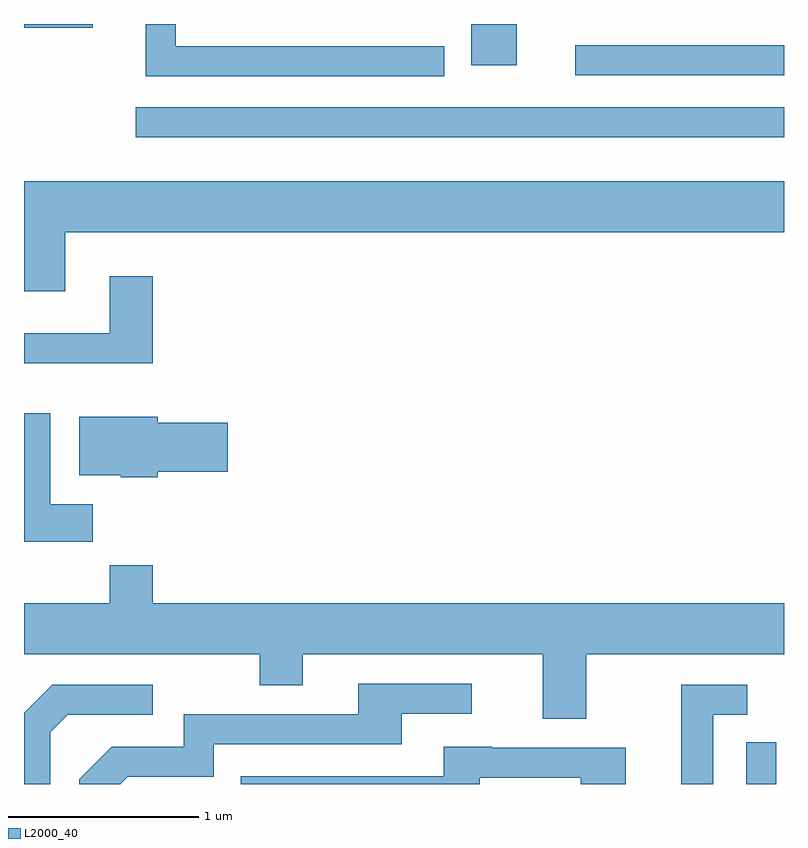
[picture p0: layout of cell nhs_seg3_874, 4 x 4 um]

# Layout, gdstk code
import gdstk
lib = gdstk.Library(unit=1e-6, precision=1e-09)
def R(c, l, rs):  # rectangles x0, y0, x1, y1
    for r in rs: c.add(gdstk.rectangle(r[:2], r[2:], *l))
def P(c, l, *ps):  # polygons
    for p in ps: c.add(gdstk.Polygon(p, *l))
L2000_40 = (2000, 40)

nhs_seg3_874 = lib.new_cell('nhs_seg3_874')
R(nhs_seg3_874, L2000_40, [(213.411,1231.892,213.569,1232.113), (210.198,1235.296,213.611,1235.454), (212.513,1235.621,213.611,1235.779), (211.966,1235.676,212.204,1235.892), (209.611,1235.871,209.974,1235.892)])
P(nhs_seg3_874, L2000_40, [(211.823,1235.774),(210.409,1235.774),(210.409,1235.892),(210.251,1235.892),(210.251,1235.616),(211.823,1235.616)],
  [(209.829,1234.796),(213.611,1234.796),(213.611,1235.064),(209.611,1235.064),(209.611,1234.486),(209.829,1234.486)],
  [(210.289,1234.564),(210.061,1234.564),(210.061,1234.264),(209.611,1234.264),(209.611,1234.106),(210.289,1234.106)],
  [(209.974,1233.364),(209.749,1233.364),(209.749,1233.844),(209.611,1233.844),(209.611,1233.166),(209.974,1233.166)],
  [(210.314,1233.536),(210.684,1233.536),(210.684,1233.794),(210.314,1233.794),(210.314,1233.824),(209.901,1233.824),(209.901,1233.516),(210.12,1233.516),(210.12,1233.506),(210.314,1233.506)],
  [(212.569,1232.576),(213.611,1232.576),(213.611,1232.844),(210.289,1232.844),(210.289,1233.044),(210.061,1233.044),(210.061,1232.844),(209.611,1232.844),(209.611,1232.576),(210.851,1232.576),(210.851,1232.411),(211.079,1232.411),(211.079,1232.576),(212.341,1232.576),(212.341,1232.236),(212.569,1232.236)],
  [(210.157,1231.931),(210.609,1231.931),(210.609,1232.101),(211.599,1232.101),(211.599,1232.261),(211.968,1232.261),(211.968,1232.419),(211.371,1232.419),(211.371,1232.259),(210.451,1232.259),(210.451,1232.089),(210.074,1232.089),(209.901,1231.917),(209.901,1231.892),(210.118,1231.892)],
  [(213.239,1232.256),(213.418,1232.256),(213.418,1232.414),(213.071,1232.414),(213.071,1231.892),(213.239,1231.892)],
  [(209.749,1232.164),(209.842,1232.256),(210.288,1232.256),(210.288,1232.414),(209.759,1232.414),(209.611,1232.267),(209.611,1231.892),(209.749,1231.892)],
  [(212.009,1231.926),(212.541,1231.926),(212.541,1231.892),(212.779,1231.892),(212.779,1232.084),(212.075,1232.084),(212.075,1232.089),(211.821,1232.089),(211.821,1231.934),(210.753,1231.934),(210.753,1231.892),(212.009,1231.892)])

lib.write_gds('nhs_seg3_874.gds')
